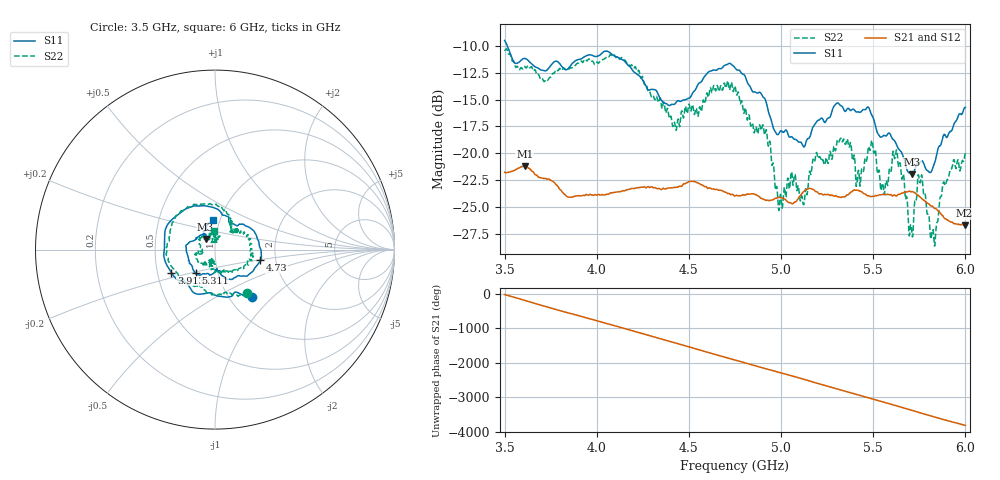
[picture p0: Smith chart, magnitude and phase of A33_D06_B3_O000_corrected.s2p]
! Created with skrf 1.9.0 (http://scikit-rf.org).
# Hz S RI R 50.0
!freq ReS11 ImS11 ReS21 ImS21 ReS12 ImS12 ReS22 ImS22
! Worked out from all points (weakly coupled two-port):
!   1601 points, 3.5 GHz to 6 GHz, reference 50 ohm
!   highest |S21| = -21.21 dB at 3.609 GHz (marker M1); lowest = -26.7 dB at 5.995 GHz (marker M2)
!   lowest |S11| = -22.0 dB at 5.713 GHz (marker M3), VSWR 1.17, Z = 44.7 + j5.37 ohm
!   |S11| at or under -10 dB: 3.515 GHz to end of sweep
!   |S22| runs from -28.7 to -10.3 dB; largest |S21 - S12| = 0.00094
!   S11 on the Smith chart (normalised r, x): 3.5 GHz: 1.27, -0.75; 3.913 GHz: 0.59, -0.16; 4.73 GHz: 1.66, -0.21; 5.311 GHz: 0.78, -0.21; 6 GHz: 0.92, +0.31
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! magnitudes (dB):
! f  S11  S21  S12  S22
! 3.5 GHz  -9.5  -21.8  -21.8  -10.4
! 3.609 GHz  -11.2  -21.2  -21.2  -11.9
! 3.913 GHz  -11.2  -24.0  -23.9  -11.4
! 3.917 GHz  -11.2  -24.0  -23.9  -11.4
! 4.334 GHz  -14.6  -23.3  -23.2  -15.3
! 4.423 GHz  -15.4  -23.2  -23.2  -17.2
! 4.73 GHz  -11.7  -23.9  -23.8  -13.4
! 4.75 GHz  -12.0  -24.0  -23.9  -13.8
! 4.911 GHz  -14.9  -24.3  -24.3  -18.3
! 4.995 GHz  -18.0  -24.1  -24.1  -24.0
! 5.167 GHz  -17.8  -23.4  -23.3  -21.4
! 5.311 GHz  -15.3  -24.1  -24.0  -18.9
! 5.419 GHz  -16.1  -23.5  -23.5  -21.6
! 5.486 GHz  -16.2  -24.0  -24.0  -19.5
! 5.584 GHz  -18.1  -23.9  -23.8  -22.0
! 5.634 GHz  -19.5  -23.9  -23.8  -20.9
! 5.713 GHz  -22.0  -23.6  -23.5  -27.8
! 5.755 GHz  -20.8  -24.1  -24.0  -22.8
! 5.827 GHz  -21.2  -25.0  -25.0  -27.4
! 5.886 GHz  -18.3  -26.1  -26.0  -22.9
! 5.995 GHz  -15.8  -26.7  -26.6  -20.4
! 6 GHz  -15.7  -26.7  -26.6  -19.9
